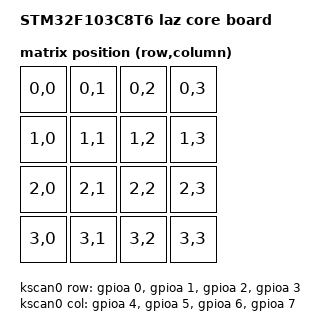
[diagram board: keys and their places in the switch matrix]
/*
 * Copyright (c) 2020 WuhanStudio
 *
 * SPDX-License-Identifier: Apache-2.0
 */

/dts-v1/;
#include <st/f1/stm32f103X8.dtsi>
#include <st/f1/stm32f103c(8-b)tx-pinctrl.dtsi>

#include <dt-bindings/zmk/matrix_transform.h>

/ {
	model = "STM32F103C8T6 laz core board";
	compatible = "st,stm32f103c8";

	chosen {
		zephyr,console = &usart1;
		zephyr,shell-uart = &usart1;
		zephyr,sram = &sram0;
		zephyr,flash = &flash0;
		zmk,kscan = &kscan0;
		zmk,matrix_transform = &layout_grid_transform;
	};

    kscan0: kscan {
        compatible = "zmk,kscan-gpio-matrix";
        label = "KSCAN";
        diode-direction = "row2col";
        row-gpios
            = <&gpioa 0   GPIO_ACTIVE_HIGH>
            , <&gpioa 1   GPIO_ACTIVE_HIGH>
            , <&gpioa 2   GPIO_ACTIVE_HIGH>
            , <&gpioa 3   GPIO_ACTIVE_HIGH>
            ;
        col-gpios
            = <&gpioa 4  (GPIO_ACTIVE_HIGH | GPIO_PULL_DOWN)>
            , <&gpioa 5  (GPIO_ACTIVE_HIGH | GPIO_PULL_DOWN)>
            , <&gpioa 6  (GPIO_ACTIVE_HIGH | GPIO_PULL_DOWN)>
            , <&gpioa 7  (GPIO_ACTIVE_HIGH | GPIO_PULL_DOWN)>
            ;
    };

	layout_grid_transform:
        keymap_transform_0 {
            compatible = "zmk,matrix-transform";
            rows = <4>;
            columns = <4>;
            map = <
                RC(0,0) RC(0,1) RC(0,2) RC(0,3)
                RC(1,0) RC(1,1) RC(1,2) RC(1,3)
                RC(2,0) RC(2,1) RC(2,2) RC(2,3)
                RC(3,0) RC(3,1) RC(3,2) RC(3,3)
            >;
        };
};

/*
// don't enable this in zmk project.
// --jixinqi

&clk_lse {
	clock-frequency = <32768>;
	status = "okay";
};
*/

&clk_hse {
	clock-frequency = <DT_FREQ_M(8)>;
	status = "okay";
};

&pll {
	mul = <9>;
	clocks = <&clk_hse>;
	status = "okay";
};

&rcc {
	clocks = <&pll>;
	clock-frequency = <DT_FREQ_M(72)>;
	ahb-prescaler = <1>;
	apb1-prescaler = <2>;
	apb2-prescaler = <1>;
	/* usbpre not set: USB clock = 72 / 1.5: 48MHz */
};

&usart1 {
	current-speed = <115200>;
	pinctrl-0 = <&usart1_tx_pa9 &usart1_rx_pa10>;
	pinctrl-names = "default";
	status = "okay";
};

/*
&usart2 {
	pinctrl-0 = <&usart2_tx_pa2 &usart2_rx_pa3>;
	pinctrl-names = "default";
	current-speed = <115200>;
};
*/

/*
&usart3 {
	pinctrl-0 = <&usart3_tx_pb10 &usart3_rx_pb11>;
	pinctrl-names = "default";
	current-speed = <115200>;
};
*/

/*
&i2c1 {
	pinctrl-0 = <&i2c1_scl_remap1_pb8 &i2c1_sda_remap1_pb9>;
	pinctrl-names = "default";
	status = "okay";
	clock-frequency = <I2C_BITRATE_FAST>;
};
*/

/*
&spi1 {
	pinctrl-0 = <
		&spi1_nss_master_pa4
		&spi1_sck_master_pa5
		&spi1_miso_master_pa6
		&spi1_mosi_master_pa7
	>;
	pinctrl-names = "default";
	status = "okay";
};
*/

/*
&spi2 {
	pinctrl-0 = <
        &spi2_nss_master_pb12
        &spi2_sck_master_pb13
        &spi2_miso_master_pb14
        &spi2_mosi_master_pb15
    >;
	pinctrl-names = "default";
	status = "okay";
};
*/

/*
&iwdg {
	status = "okay";
};
*/

/*
&timers1 {
	st,prescaler = <10000>;
	status = "okay";

	pwm1: pwm {
		status = "okay";
		pinctrl-0 = <&tim1_ch1_pwm_out_pa8>;
		pinctrl-names = "default";
	};
};
*/

&pinctrl {
	swj-cfg = "jtag-disable";
};

&usb {
    pinctrl-0 = <&usb_dm_pa11 &usb_dp_pa12>;
    pinctrl-names = "default";
    status = "okay";
};

/*
&rtc {
	clocks = <&rcc STM32_CLOCK_BUS_APB1 0x10000000>, <&rcc STM32_SRC_LSI RTC_SEL(2)>;
	status = "okay";
};
*/

/*
&adc1 {
	pinctrl-0 = <&adc1_in0_pa0>;
	pinctrl-names = "default";
	status = "okay";
};
*/

/*
&die_temp {
	status = "okay";
};
*/
